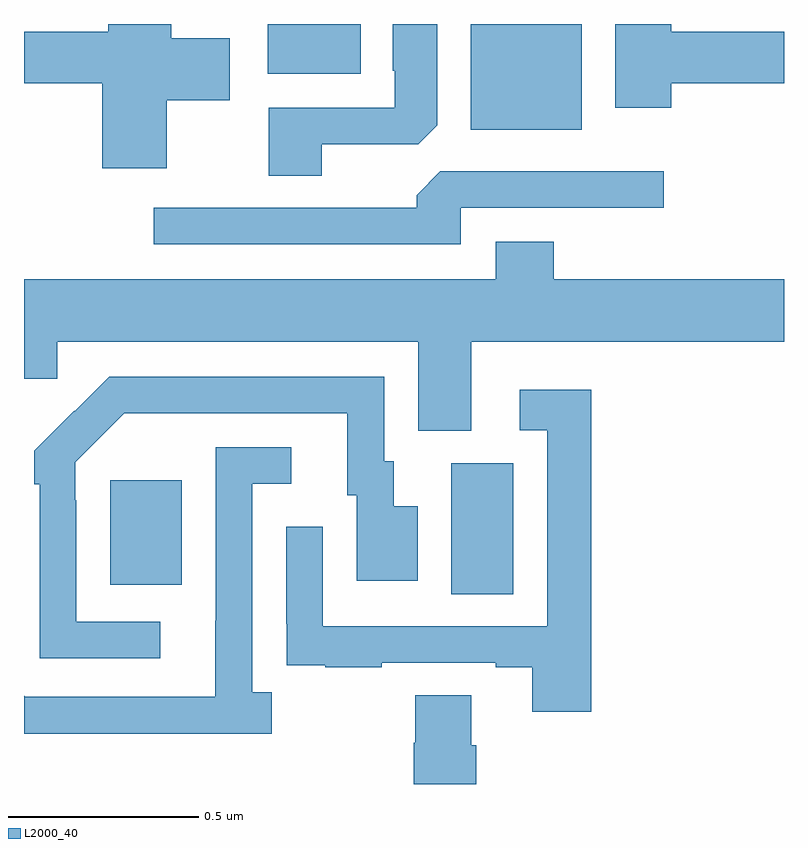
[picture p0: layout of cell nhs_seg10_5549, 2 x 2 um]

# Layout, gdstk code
import gdstk
lib = gdstk.Library(unit=1e-6, precision=1e-09)
def R(c, l, rs):  # rectangles x0, y0, x1, y1
    for r in rs: c.add(gdstk.rectangle(r[:2], r[2:], *l))
def P(c, l, *ps):  # polygons
    for p in ps: c.add(gdstk.Polygon(p, *l))
L2000_40 = (2000, 40)

nhs_seg10_5549 = lib.new_cell('nhs_seg10_5549')
R(nhs_seg10_5549, L2000_40, [(181.124,1285,181.288,1285.344), (180.227,1285.025,180.415,1285.3), (181.175,1286.222,181.468,1286.5), (180.641,1286.369,180.886,1286.5)])
P(nhs_seg10_5549, L2000_40, [(181.703,1286.344),(182,1286.344),(182,1286.48),(181.703,1286.48),(181.703,1286.5),(181.556,1286.5),(181.556,1286.28),(181.703,1286.28)],
  [(180.784,1286.184),(181.038,1286.184),(181.087,1286.233),(181.087,1286.5),(180.971,1286.5),(180.971,1286.377),(180.975,1286.377),(180.975,1286.28),(180.644,1286.28),(180.644,1286.101),(180.784,1286.101)],
  [(180.376,1286.3),(180.541,1286.3),(180.541,1286.463),(180.388,1286.463),(180.388,1286.5),(180.222,1286.5),(180.222,1286.48),(180,1286.48),(180,1286.344),(180.206,1286.344),(180.206,1286.121),(180.376,1286.121)],
  [(181.149,1286.016),(181.684,1286.016),(181.684,1286.112),(181.095,1286.112),(181.034,1286.05),(181.034,1286.016),(180.342,1286.016),(180.342,1285.92),(181.149,1285.92)],
  [(181.177,1285.664),(182,1285.664),(182,1285.828),(181.394,1285.828),(181.394,1285.927),(181.241,1285.927),(181.241,1285.828),(180,1285.828),(180,1285.566),(180.087,1285.566),(180.087,1285.664),(181.037,1285.664),(181.037,1285.429),(181.177,1285.429)],
  [(180.358,1284.927),(180.138,1284.927),(180.138,1285.247),(180.135,1285.247),(180.135,1285.347),(180.264,1285.476),(180.851,1285.476),(180.851,1285.26),(180.875,1285.26),(180.875,1285.035),(181.036,1285.035),(181.036,1285.231),(180.973,1285.231),(180.973,1285.35),(180.948,1285.35),(180.948,1285.572),(180.224,1285.572),(180.133,1285.481),(180.132,1285.482),(180.027,1285.377),(180.027,1285.289),(180.042,1285.289),(180.042,1284.831),(180.358,1284.831)],
  [(181.493,1285.537),(181.305,1285.537),(181.305,1285.431),(181.377,1285.431),(181.377,1284.915),(180.786,1284.915),(180.786,1285.177),(180.69,1285.177),(180.69,1284.922),(180.691,1284.922),(180.691,1284.813),(180.793,1284.813),(180.793,1284.807),(180.941,1284.807),(180.941,1284.819),(181.241,1284.819),(181.241,1284.807),(181.337,1284.807),(181.337,1284.69),(181.493,1284.69)],
  [(180.652,1284.742),(180.6,1284.742),(180.6,1285.29),(180.703,1285.29),(180.703,1285.386),(180.504,1285.386),(180.504,1284.929),(180.503,1284.929),(180.503,1284.729),(180.003,1284.729),(180,1284.732),(180,1284.632),(180.652,1284.632)],
  [(181.19,1284.602),(181.177,1284.602),(181.177,1284.734),(181.03,1284.734),(181.03,1284.609),(181.025,1284.609),(181.025,1284.5),(181.19,1284.5)])

lib.write_gds('nhs_seg10_5549.gds')
